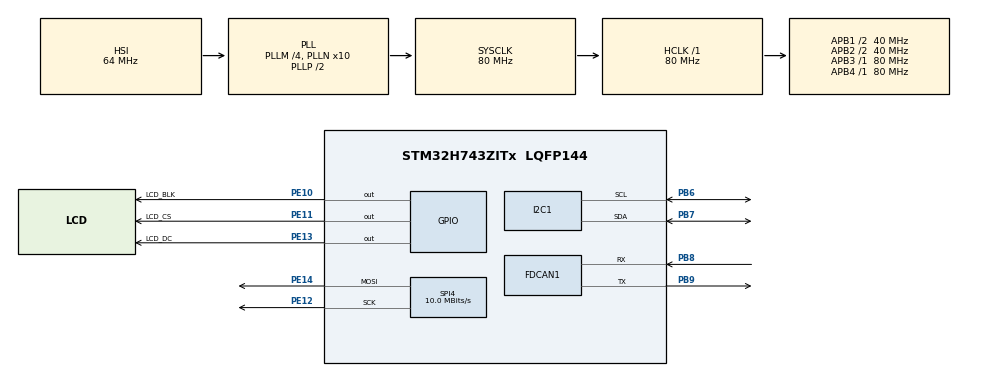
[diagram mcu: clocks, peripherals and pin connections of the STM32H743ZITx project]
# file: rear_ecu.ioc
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CORTEX_M7.Enable_Spec=__NULL
CORTEX_M7.default_mode_Activation=1
Dma.I2C1_RX.0.Direction=DMA_PERIPH_TO_MEMORY
Dma.I2C1_RX.0.EventEnable=DISABLE
Dma.I2C1_RX.0.FIFOMode=DMA_FIFOMODE_DISABLE
Dma.I2C1_RX.0.Instance=DMA1_Stream0
Dma.I2C1_RX.0.MemDataAlignment=DMA_MDATAALIGN_BYTE
Dma.I2C1_RX.0.MemInc=DMA_MINC_ENABLE
Dma.I2C1_RX.0.Mode=DMA_NORMAL
Dma.I2C1_RX.0.PeriphDataAlignment=DMA_PDATAALIGN_BYTE
Dma.I2C1_RX.0.PeriphInc=DMA_PINC_DISABLE
Dma.I2C1_RX.0.Polarity=HAL_DMAMUX_REQ_GEN_RISING
Dma.I2C1_RX.0.Priority=DMA_PRIORITY_LOW
Dma.I2C1_RX.0.RequestNumber=1
Dma.I2C1_RX.0.SignalID=NONE
Dma.I2C1_RX.0.SyncEnable=DISABLE
Dma.I2C1_RX.0.SyncPolarity=HAL_DMAMUX_SYNC_NO_EVENT
Dma.I2C1_RX.0.SyncRequestNumber=1
Dma.I2C1_RX.0.SyncSignalID=NONE
Dma.Request0=I2C1_RX
FDCAN1.CalculateBaudRateNominal=1000000
FDCAN1.CalculateTimeBitNominal=1000
FDCAN1.CalculateTimeQuantumNominal=20.0
FDCAN1.FrameFormat=FDCAN_FRAME_FD_BRS
FDCAN1.NominalPrescaler=1
FDCAN1.NominalSyncJumpWidth=10
FDCAN1.NominalTimeSeg1=39
FDCAN1.NominalTimeSeg2=10
FDCAN1.TxFifoQueueElmtsNbr=32
FREERTOS.Tasks01=defaultTask,24,1024,StartDefaultTask,Default,NULL,Dynamic,NULL,NULL;CANFDTransmTask,40,128,StartCANFDTransmitTask,Default,NULL,Static,CANFDTransmitTaskBuffer,CANFDTransmitTaskControlBlock
FREERTOS.configMINIMAL_STACK_SIZE=1024
FREERTOS.configTICK_RATE_HZ=1000
I2C1.Timing=0x00909BEB
Mcu.Family=STM32H7
Mcu.Name=STM32H743ZITx
Mcu.Package=LQFP144
NVIC.DMA1_Stream0_IRQn=true\:5\:0\:false\:false\:true\:true\:false\:true\:true
NVIC.FDCAN1_IT0_IRQn=true\:5\:0\:false\:false\:true\:true\:true\:true\:true
NVIC.FDCAN1_IT1_IRQn=true\:5\:0\:false\:false\:true\:true\:true\:true\:true
NVIC.I2C1_ER_IRQn=true\:5\:0\:false\:false\:true\:true\:true\:true\:true
NVIC.I2C1_EV_IRQn=true\:5\:0\:false\:false\:true\:true\:true\:true\:true
NVIC.PriorityGroup=NVIC_PRIORITYGROUP_4
NVIC.TIM6_DAC_IRQn=true\:15\:0\:false\:false\:true\:false\:false\:true\:true
NVIC.TimeBase=TIM6_DAC_IRQn
NVIC.TimeBaseIP=TIM6
PB6.Mode=I2C
PB6.Signal=I2C1_SCL
PB7.Mode=I2C
PB7.Signal=I2C1_SDA
PB8.GPIO_PuPd=GPIO_PULLUP
PB8.Mode=FDCAN_Activate
PB8.Signal=FDCAN1_RX
PB9.Mode=FDCAN_Activate
PB9.Signal=FDCAN1_TX
PE10.GPIO_Label=LCD_BLK
PE10.GPIO_Speed=GPIO_SPEED_FREQ_VERY_HIGH
PE10.Signal=GPIO_Output
PE11.GPIO_Label=LCD_CS
PE11.GPIO_Speed=GPIO_SPEED_FREQ_VERY_HIGH
PE11.PinState=GPIO_PIN_RESET
PE11.Signal=GPIO_Output
PE12.GPIO_Speed=GPIO_SPEED_FREQ_VERY_HIGH
PE12.Mode=TX_Only_Simplex_Unidirect_Master
PE12.Signal=SPI4_SCK
PE13.GPIO_Label=LCD_DC
PE13.GPIO_Speed=GPIO_SPEED_FREQ_VERY_HIGH
PE13.Signal=GPIO_Output
PE14.GPIO_Speed=GPIO_SPEED_FREQ_VERY_HIGH
PE14.Mode=TX_Only_Simplex_Unidirect_Master
PE14.Signal=SPI4_MOSI
ProjectManager.HeapSize=0x200
ProjectManager.StackSize=0x400
ProjectManager.TargetToolchain=CMake
RCC.ADCFreq_Value=75000000
RCC.APB1Freq_Value=40000000
RCC.APB2Freq_Value=40000000
RCC.APB3Freq_Value=80000000
RCC.APB4Freq_Value=80000000
RCC.CortexFreq_Value=80000000
RCC.D2PPRE1=RCC_APB1_DIV2
RCC.D2PPRE2=RCC_APB2_DIV2
RCC.DIVM1=4
RCC.DIVM2=4
RCC.DIVN1=10
RCC.DIVN2=9
RCC.DIVQ1=3
RCC.DIVQ2=3
RCC.FDCANCLockSelection=RCC_FDCANCLKSOURCE_PLL2
RCC.HCLKFreq_Value=80000000
RCC.PLL2FRACN=3072
RCC.PLL3FRACN=0
RCC.PLLFRACN=0
RCC.SYSCLKFreq_VALUE=80000000
RCC.SYSCLKSource=RCC_SYSCLKSOURCE_PLLCLK
RCC.USBFreq_Value=53333333.333333336
SPI4.BaudRatePrescaler=SPI_BAUDRATEPRESCALER_4
SPI4.CalculateBaudRate=10.0 MBits/s
SPI4.DataSize=SPI_DATASIZE_8BIT
SPI4.Direction=SPI_DIRECTION_2LINES_TXONLY
SPI4.Mode=SPI_MODE_MASTER
SPI4.NSSPMode=SPI_NSS_PULSE_DISABLE
SPI4.VirtualType=VM_MASTER
VP_FREERTOS_VS_CMSIS_V2.Mode=CMSIS_V2
VP_MEMORYMAP_VS_MEMORYMAP.Mode=CurAppReg
VP_SYS_VS_tim6.Mode=TIM6
board=custom

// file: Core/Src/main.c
/* USER CODE BEGIN Header */
/**
  ******************************************************************************
  * @file           : main.c
  * @brief          : Main program body
  ******************************************************************************
  * @attention
  *
  * Copyright (c) 2026 STMicroelectronics.
  * All rights reserved.
  *
  * This software is licensed under terms that can be found in the LICENSE file
  * in the root directory of this software component.
  * If no LICENSE file comes with this software, it is provided AS-IS.
  *
  ******************************************************************************
  */
/* USER CODE END Header */
#include "main.h"
#include "FreeRTOS.h"
#include "cmsis_os2.h"
#include "dma.h"
#include "fdcan.h"
#include "i2c.h"
#include "spi.h"
#include "gpio.h"

/* USER CODE BEGIN Includes */
#include "st7735.h"
/* USER CODE END Includes */

void SystemClock_Config(void);
static void MPU_Config(void);
void MX_FREERTOS_Init(void);

int main(void)
{

  /* MPU Configuration--------------------------------------------------------*/
  MPU_Config();

  /* MCU Configuration--------------------------------------------------------*/

  /* Reset of all peripherals, Initializes the Flash interface and the Systick. */
  HAL_Init();

  /* USER CODE BEGIN Init */

  // SystemView DWT Cycle Counter
  CoreDebug->DEMCR |= CoreDebug_DEMCR_TRCENA_Msk;
  DWT->LAR = 0xC5ACCE55;
  DWT->CYCCNT = 0;
  DWT->CTRL |= DWT_CTRL_CYCCNTENA_Msk;

  /* USER CODE END Init */

  /* Configure the system clock */
  SystemClock_Config();

  /* Initialize all configured peripherals */
  MX_GPIO_Init();
  MX_DMA_Init();
  MX_FDCAN1_Init();
  MX_SPI4_Init();
  MX_I2C1_Init();
  /* USER CODE BEGIN 2 */

  // Start the CAN FD peripheral before handing control to the RTOS
  if (HAL_FDCAN_Start(&hfdcan1) != HAL_OK)
  {
    Error_Handler();
  }

  /* USER CODE END 2 */

  /* Init scheduler */
  osKernelInitialize();  /* Call init function for freertos objects (in cmsis_os2.c) */
  MX_FREERTOS_Init();

  /* Start scheduler */
  osKernelStart();

  /* We should never get here as control is now taken by the scheduler */

  /* Infinite loop */
  while (1)
  {

  }
}

void SystemClock_Config(void)
{
  RCC_OscInitTypeDef RCC_OscInitStruct = {0};
  RCC_ClkInitTypeDef RCC_ClkInitStruct = {0};

  /** Supply configuration update enable
  */
  HAL_PWREx_ConfigSupply(PWR_LDO_SUPPLY);

  /** Configure the main internal regulator output voltage
  */
  __HAL_PWR_VOLTAGESCALING_CONFIG(PWR_REGULATOR_VOLTAGE_SCALE3);

  while(!__HAL_PWR_GET_FLAG(PWR_FLAG_VOSRDY)) {}

  /** Initializes the RCC Oscillators according to the specified parameters
  * in the RCC_OscInitTypeDef structure.
  */
  RCC_OscInitStruct.OscillatorType = RCC_OSCILLATORTYPE_HSI;
  RCC_OscInitStruct.HSIState = RCC_HSI_DIV1;
  RCC_OscInitStruct.HSICalibrationValue = RCC_HSICALIBRATION_DEFAULT;
  RCC_OscInitStruct.PLL.PLLState = RCC_PLL_ON;
  RCC_OscInitStruct.PLL.PLLSource = RCC_PLLSOURCE_HSI;
  RCC_OscInitStruct.PLL.PLLM = 4;
  RCC_OscInitStruct.PLL.PLLN = 10;
  RCC_OscInitStruct.PLL.PLLP = 2;
  RCC_OscInitStruct.PLL.PLLQ = 3;
  RCC_OscInitStruct.PLL.PLLR = 2;
  RCC_OscInitStruct.PLL.PLLRGE = RCC_PLL1VCIRANGE_3;
  RCC_OscInitStruct.PLL.PLLVCOSEL = RCC_PLL1VCOMEDIUM;
  RCC_OscInitStruct.PLL.PLLFRACN = 0;
  if (HAL_RCC_OscConfig(&RCC_OscInitStruct) != HAL_OK)
  {
    Error_Handler();
  }

  /** Initializes the CPU, AHB and APB buses clocks
  */
  RCC_ClkInitStruct.ClockType = RCC_CLOCKTYPE_HCLK|RCC_CLOCKTYPE_SYSCLK
                              |RCC_CLOCKTYPE_PCLK1|RCC_CLOCKTYPE_PCLK2
                              |RCC_CLOCKTYPE_D3PCLK1|RCC_CLOCKTYPE_D1PCLK1;
  RCC_ClkInitStruct.SYSCLKSource = RCC_SYSCLKSOURCE_PLLCLK;
  RCC_ClkInitStruct.SYSCLKDivider = RCC_SYSCLK_DIV1;
  RCC_ClkInitStruct.AHBCLKDivider = RCC_HCLK_DIV1;
  RCC_ClkInitStruct.APB3CLKDivider = RCC_APB3_DIV1;
  RCC_ClkInitStruct.APB1CLKDivider = RCC_APB1_DIV2;
  RCC_ClkInitStruct.APB2CLKDivider = RCC_APB2_DIV2;
  RCC_ClkInitStruct.APB4CLKDivider = RCC_APB4_DIV1;

  if (HAL_RCC_ClockConfig(&RCC_ClkInitStruct, FLASH_LATENCY_1) != HAL_OK)
  {
    Error_Handler();
  }
}

 /* MPU Configuration */

void MPU_Config(void)
{

  /* Disables the MPU */
  HAL_MPU_Disable();

  /* Enables the MPU */
  HAL_MPU_Enable(MPU_PRIVILEGED_DEFAULT);

}

void HAL_TIM_PeriodElapsedCallback(TIM_HandleTypeDef *htim)
{
  if (htim->Instance == TIM6)
  {
    HAL_IncTick();
  }
}

void Error_Handler(void)
{
  __disable_irq();
  for (;;){}
}

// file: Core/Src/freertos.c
/* USER CODE BEGIN Header */
/**
  ******************************************************************************
  * File Name          : freertos.c
  * Description        : Code for freertos applications
  ******************************************************************************
  * @attention
  *
  * Copyright (c) 2026 STMicroelectronics.
  * All rights reserved.
  *
  * This software is licensed under terms that can be found in the LICENSE file
  * in the root directory of this software component.
  * If no LICENSE file comes with this software, it is provided AS-IS.
  *
  ******************************************************************************
  */
/* USER CODE END Header */

#include "FreeRTOS.h"
#include "task.h"
#include "main.h"
#include "FreeRTOS.h"
#include "cmsis_os2.h"

/* USER CODE BEGIN Includes */
#include <stdio.h>

#include <stdint.h>
#include "helpers.h"

#include "fdcan.h"

#include "roxy.h"
#include "SEGGER_RTT.h"
#include "st7735.h"
#include "FreeRTOSConfig.h"
/* USER CODE END Includes */

typedef StaticTask_t osStaticThreadDef_t;

/* USER CODE BEGIN PD */

// i2c polling addresses based on GY-906 datasheet
#define IR_SLAVE_ADDR (0x5A)
#define AMB_POLL_ADDR (0x06)
#define OBJ_POLL_ADDR (0x07)

#define BYTE_SHIFT (8u)

// delta calculated based on accepted celsius diff divided by sensor resolution
// 10 degrees celsius divided by 0.02 resolution
#define CVT_ACCEPTED_DELTA (500u)
// Ticks required for sense state to accept total change in readings
#define SENSE_STATE_FLIP (15u)
// EMA uses the following defines to allocate 25% to latest reading and 75% to history
#define DIV_BY_FOUR_IN_BITS (2u)
#define TEMP_HIST_FACTOR (3u)
#define INT_ROUND_FACTOR (2u)

// buffer sizing defines
#define IR_POLL_BFR_SIZE (3u)
#define CAN_TRANSMIT_TICKS    (100)

#define SETTLE_TICKS          (200)
/* USER CODE END PD */

/* USER CODE BEGIN Variables */

osThreadId_t thermalTaskHandle;
const osThreadAttr_t thermalTask_attributes = {
  .name = "thermalTask",
  .stack_size = 256 * 4,
  .priority = (osPriority_t) osPriorityNormal,
};

osSemaphoreId_t I2C1_Rx_SemHandle;

// CANDFD GLOBAL STRUCT DEF
typedef struct __attribute__((packed)) {
  thermo_read_can_t thermo_read_can; // 4 bytes
  uint8_t padding[60];
} can_global_transmit_t;

// Sensor Read Structs
typedef struct __attribute__((packed)) {
  uint8_t lsb;  // i2c reads for IR sensor come in 2 bytes
  uint8_t msb;
  uint8_t crc;  // checksum for valid data
} thermo_read_raw_t;

// Processed obj and amb readings for CAN transmit
typedef struct __attribute__((packed)) {
  uint8_t obj_lsb;
  uint8_t obj_msb;
  uint8_t amb_lsb;
  uint8_t amb_msb;
} thermo_read_can_t;

// Single Variables
can_global_transmit_t can_global_transmit = {0};
volatile thermo_read_raw_t obj_read_raw = {0,0,0};
volatile thermo_read_raw_t amb_read_raw = {0,0,0};
volatile thermo_read_can_t ir_read_can = {0,0,0,0};

extern FDCAN_HandleTypeDef hfdcan1;

uint16_t prev_obj_raw = 0;
uint16_t obj_hist = 0;
uint8_t base_sense = 0;

/* USER CODE END Variables */
/* Definitions for defaultTask */
osThreadId_t defaultTaskHandle;
const osThreadAttr_t defaultTask_attributes = {
  .name = "defaultTask",
  .stack_size = 1024 * 4,
  .priority = (osPriority_t) osPriorityNormal,
};
/* Definitions for CANFDTransmTask */
osThreadId_t CANFDTransmTaskHandle;
uint32_t CANFDTransmitTaskBuffer[ 128 ];
osStaticThreadDef_t CANFDTransmitTaskControlBlock;
const osThreadAttr_t CANFDTransmTask_attributes = {
  .name = "CANFDTransmTask",
  .cb_mem = &CANFDTransmitTaskControlBlock,
  .cb_size = sizeof(CANFDTransmitTaskControlBlock),
  .stack_mem = &CANFDTransmitTaskBuffer[0],
  .stack_size = sizeof(CANFDTransmitTaskBuffer),
  .priority = (osPriority_t) osPriorityHigh,
};

/* USER CODE BEGIN FunctionPrototypes */
void StartThermalSensorTask(void *argument);

/* USER CODE END FunctionPrototypes */

void StartDefaultTask(void *argument);
void StartCANFDTransmitTask(void *argument);

void MX_FREERTOS_Init(void); /* (MISRA C 2004 rule 8.1) */

void MX_FREERTOS_Init(void) {
  /* USER CODE BEGIN Init */

  // SystemView Init
  SEGGER_SYSVIEW_Conf();

  /* USER CODE END Init */

  /* USER CODE BEGIN RTOS_SEMAPHORES */
  /* creation of I2C1_Rx_Sem */
  // Max count 1, initial count 0 (starts empty so the task blocks immediately)
  I2C1_Rx_SemHandle = osSemaphoreNew(1, 0, NULL);

  /* USER CODE END RTOS_SEMAPHORES */

  /* USER CODE BEGIN RTOS_TIMERS */
  /* start timers, add new ones, ... */
  osTimerStart(EnableCANTxHandle, CAN_TRANSMIT_TICKS);
  /* USER CODE END RTOS_TIMERS */

  /* Create the thread(s) */
  /* creation of defaultTask */
  defaultTaskHandle = osThreadNew(StartDefaultTask, NULL, &defaultTask_attributes);

  /* creation of CANFDTransmTask */
  CANFDTransmTaskHandle = osThreadNew(StartCANFDTransmitTask, NULL, &CANFDTransmTask_attributes);

  /* USER CODE BEGIN RTOS_THREADS */
  /* add threads, ... */
  thermalTaskHandle = osThreadNew(StartThermalSensorTask, NULL, &thermalTask_attributes);
  /* USER CODE END RTOS_THREADS */

}

void StartDefaultTask(void *argument)
{
  /* USER CODE BEGIN StartDefaultTask */

  // SystemView Start
  osDelay(SETTLE_TICKS);

  CoreDebug->DEMCR |= CoreDebug_DEMCR_TRCENA_Msk; // Enable Trace
  DWT->CYCCNT = 0;                                // Reset Cycle Counter
  DWT->CTRL |= DWT_CTRL_CYCCNTENA_Msk;

  SEGGER_SYSVIEW_Start();

  /* Infinite loop */
  for(;;)
  {
    osDelay(100);
  }
  /* USER CODE END StartDefaultTask */
}

void StartCANFDTransmitTask(void *argument)
{
  /* USER CODE BEGIN StartCANFDTransmitTask */
  FDCAN_TxHeaderTypeDef txHeader;

  txHeader.Identifier = 0x123;
  txHeader.IdType = FDCAN_STANDARD_ID;
  txHeader.TxFrameType = FDCAN_DATA_FRAME;
  txHeader.DataLength = FDCAN_DLC_BYTES_64;
  txHeader.ErrorStateIndicator = FDCAN_ESI_ACTIVE;
  txHeader.BitRateSwitch = FDCAN_BRS_ON;    // Speeds up the clock during the data payload
  txHeader.FDFormat = FDCAN_FD_CAN;         // Enables the up-to-64-byte frame format
  txHeader.TxEventFifoControl = FDCAN_NO_TX_EVENTS;
  txHeader.MessageMarker = 0; // Used if you need to track this specific frame later

  /* Infinite loop */
  for(;;)
  {
    // Copy prepared IR readings onto the CAN buffer using hardware blocking gates
    taskENTER_CRITICAL();
    can_global_transmit.thermo_read_can.obj_lsb = ir_read_can.obj_lsb;
    can_global_transmit.thermo_read_can.obj_msb = ir_read_can.obj_msb;
    can_global_transmit.thermo_read_can.amb_lsb = ir_read_can.amb_lsb;
    can_global_transmit.thermo_read_can.amb_msb = ir_read_can.amb_msb;
    taskEXIT_CRITICAL();

    // Push the 64-byte struct to the CAN FD hardware Tx FIFO
    if (HAL_FDCAN_AddMessageToTxFifoQ(&hfdcan1, &txHeader, (uint8_t*)&can_global_transmit) != HAL_OK)
    {
      // Optional: Handle transmission error (e.g., Tx FIFO is full)
      // Error_Handler();
    }

    osDelay(100);
  }
  /* USER CODE END StartCANFDTransmitTask */
}

/* USER CODE BEGIN Application */

extern I2C_HandleTypeDef hi2c1; // Assuming main I2C refers to hi2c1

/**
* @brief Function implementing the ThermalSensorTask thread.
* @param argument: Not used
* @retval None
*/
void StartThermalSensorTask(void *argument) {
  for(;;) {
    // Send
    HAL_I2C_Mem_Read_DMA(&hi2c1, (IR_SLAVE_ADDR << 1), OBJ_POLL_ADDR, I2C_MEMADD_SIZE_8BIT, (uint8_t*)&obj_read_raw, IR_POLL_BFR_SIZE);
    osSemaphoreAcquire(I2C1_Rx_SemHandle, osWaitForever);

    HAL_I2C_Mem_Read_DMA(&hi2c1, (IR_SLAVE_ADDR << 1), AMB_POLL_ADDR, I2C_MEMADD_SIZE_8BIT, (uint8_t*)&amb_read_raw, IR_POLL_BFR_SIZE);
    osSemaphoreAcquire(I2C1_Rx_SemHandle, osWaitForever);

    // OBJ Handling
    if(MLX90614_VerifyData(OBJ_POLL_ADDR, (volatile uint8_t *)&obj_read_raw)) {
      //CRC Check Passed -- Proceed with Data Processing
      uint16_t obj_read_val = obj_read_raw.msb << 8 | obj_read_raw.lsb;
      uint16_t obj_diff = (obj_read_val > prev_obj_raw) ? obj_read_val - prev_obj_raw : prev_obj_raw - obj_read_val;

      if (obj_diff < CVT_ACCEPTED_DELTA) {
        // Delta indicates allow reading
        if (obj_hist == 0) {
          obj_hist = obj_read_val;
          prev_obj_raw = obj_read_val;
        }

        uint16_t ema = (INT_ROUND_FACTOR + obj_read_val + TEMP_HIST_FACTOR*obj_hist)>>DIV_BY_FOUR_IN_BITS;
        taskENTER_CRITICAL();
        ir_read_can.obj_lsb = (uint8_t)(ema & 0xFF);
        ir_read_can.obj_msb = (uint8_t)(ema >> BYTE_SHIFT);
        taskEXIT_CRITICAL();

        obj_hist = ema;
        prev_obj_raw = obj_read_val;
        base_sense = 0;
      }
      else {
        // Delta indicates that a sensor failure has occurred
        // Relying on previous acceptable reading
        base_sense += 1;

        if (base_sense >= SENSE_STATE_FLIP) {
          prev_obj_raw = obj_read_val;
          base_sense = 0;
        }
      }

    }
    else {
      // crc check failed -- do nothing
    }

    // AMB Handling
    if(MLX90614_VerifyData(AMB_POLL_ADDR, (volatile uint8_t *)&amb_read_raw)) {
      //CRC Check Passed -- Proceed with Data Processing
      taskENTER_CRITICAL();
      ir_read_can.amb_lsb = amb_read_raw.lsb;
      ir_read_can.amb_msb = amb_read_raw.msb;
      taskEXIT_CRITICAL();
    }
    else {
      // crc check failed -- do nothing
    }

    osDelay(1000);
  }
}

/**
* @brief Function releasing sempahore hold of the
* @param hi2c:
* @retval None
*/
void HAL_I2C_MemRxCpltCallback(I2C_HandleTypeDef *hi2c) {
  if (hi2c->Instance == I2C1) {
    // Release the semaphore to wake up the Thermal Task
    osSemaphoreRelease(I2C1_Rx_SemHandle);
  }
}

/* USER CODE END Application */
